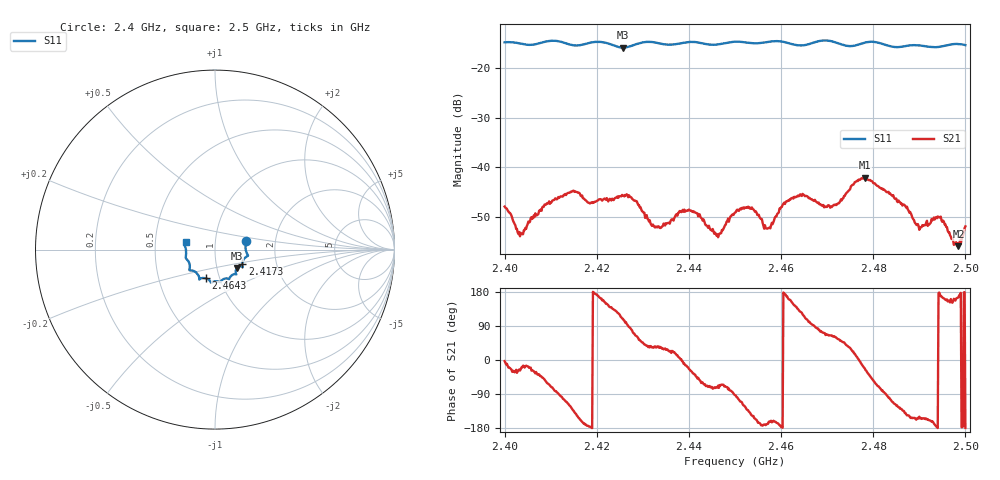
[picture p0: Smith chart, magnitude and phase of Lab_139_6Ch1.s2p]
# Hz S RI R 50
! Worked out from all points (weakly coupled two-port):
!   601 points, 2.4 GHz to 2.5 GHz, reference 50 ohm
!   highest |S21| = -42.11 dB at 2.4782 GHz (marker M1); lowest = -55.9 dB at 2.4985 GHz (marker M2)
!   lowest |S11| = -15.9 dB at 2.4257 GHz (marker M3), VSWR 1.38, Z = 62.4 - j13.1 ohm
!   |S11| at or under -10 dB: start of sweep to end of sweep
!   S12 and S22 are empty: the file has one direction only
!   S11 on the Smith chart (normalised r, x): 2.4 GHz: 1.41, +0.14; 2.4173 GHz: 1.34, -0.23; 2.4643 GHz: 0.86, -0.28; 2.5 GHz: 0.72, +0.06
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2.4e9  0.1735 0.0493  0.00402 -0.000211  0 0  0 0
2.4035e9  0.1725 0.0305  0.002 -0.000899  0 0  0 0
2.409167e9  0.1823 -0.0293  0.00216 -0.00376  0 0  0 0
2.416667e9  0.1525 -0.075  -0.00484 -0.00165  0 0  0 0
2.417333e9  0.1519 -0.0823  -0.00465 -0.00102  0 0  0 0
2.425667e9  0.1226 -0.1023  -0.00166 0.0049  0 0  0 0
2.433333e9  0.1127 -0.1366  0.00207 0.0015  0 0  0 0
2.440333e9  0.0794 -0.1639  0.00324 -0.00171  0 0  0 0
2.4465e9  0.0437 -0.1667  0.00059 -0.00201  0 0  0 0
2.45e9  0.0296 -0.1808  -0.000157 -0.00349  0 0  0 0
2.453333e9  0.0153 -0.1768  -0.00301 -0.0025  0 0  0 0
2.457167e9  -0.0149 -0.1814  -0.00238 -0.000486  0 0  0 0
2.460833e9  -0.0255 -0.1793  -0.00424 0.000465  0 0  0 0
2.464333e9  -0.0501 -0.1601  -0.00307 0.00422  0 0  0 0
2.466667e9  -0.0761 -0.1596  -0.000324 0.00476  0 0  0 0
2.471167e9  -0.087 -0.1621  0.00189 0.00361  0 0  0 0
2.478167e9  -0.1366 -0.116  0.00725 -0.00299  0 0  0 0
2.483333e9  -0.1404 -0.0894  -0.000935 -0.00559  0 0  0 0
2.489833e9  -0.163 -0.0423  -0.00233 -0.00112  0 0  0 0
2.4945e9  -0.1629 0.00468  -0.00314 0.000414  0 0  0 0
2.4985e9  -0.1703 0.0336  -0.00156 0.000405  0 0  0 0
2.5e9  -0.1637 0.0418  -0.00254 -3e-05  0 0  0 0
